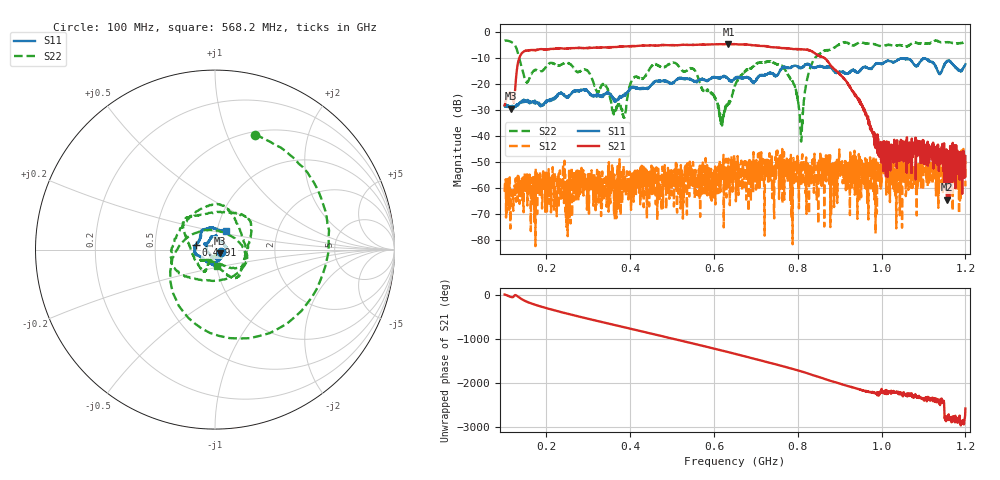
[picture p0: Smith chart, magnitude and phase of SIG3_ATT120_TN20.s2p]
# Hz S DB R 50
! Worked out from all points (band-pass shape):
!   1601 points, 100 MHz to 1.2 GHz, reference 50 ohm
!   highest |S21| = -4.73 dB at 634.2 MHz (marker M1); lowest = -64.5 dB at 1.156 GHz (marker M2)
!   |S21| within 3 dB of the highest: 144.7 MHz to 834.8 MHz (690.1 MHz wide, 141 % of centre); 835.3229 MHz to 835.75 MHz (427.1 kHz wide, 0.0511 % of centre)
!   lowest |S11| = -29.5 dB at 115.1 MHz (marker M3), VSWR 1.07, Z = 52.8 - j2.04 ohm
!   |S11| at or under -10 dB: start of sweep to end of sweep
!   |S22| runs from -42.2 to -3.4 dB; largest |S21 - S12| = 0.58
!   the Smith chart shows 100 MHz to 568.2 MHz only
!   S11 on the Smith chart (normalised r, x): 100 MHz: 1.07, -0.03; 489.1 MHz: 0.81, +0.04; 568.2 MHz: 1.11, +0.24
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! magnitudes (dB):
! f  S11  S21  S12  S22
! 100 MHz  -28.3  -28.3  -61.5  -3.4
! 115.1 MHz  -29.5  -23.6  -63.0  -3.9
! 145.4 MHz  -27.1  -7.7  -69.4  -16.4
! 231.3 MHz  -23.7  -6.4  -55.8  -13.1
! 251.9 MHz  -24.7  -6.5  -65.2  -12.1
! 283.6 MHz  -22.5  -6.3  -52.3  -14.9
! 384.6 MHz  -24.6  -5.7  -61.3  -33.1
! 405.9 MHz  -21.6  -5.5  -54.9  -17.9
! 467.1 MHz  -19.2  -5.3  -52.7  -13.0
! 489.1 MHz  -19.3  -5.2  -61.8  -12.8
! 568.2 MHz  -18.2  -5.0  -60.6  -20.6
! 617.7 MHz  -17.4  -4.8  -51.2  -36.2
! 634.2 MHz  -18.2  -4.7  -48.7  -27.6
! 650 MHz  -18.0  -4.8  -52.5  -20.6
! 759.3 MHz  -14.7  -6.3  -49.8  -13.0
! 792.3 MHz  -13.1  -6.7  -49.3  -20.6
! 808.1 MHz  -14.0  -6.7  -59.0  -42.2
! 833.6 MHz  -13.7  -7.6  -56.7  -12.3
! 915.4 MHz  -16.1  -19.0  -50.8  -4.2
! 1.017 GHz  -11.3  -42.3  -61.9  -5.0
! 1.156 GHz  -11.5  -64.5  -50.7  -4.0
! 1.2 GHz  -12.5  -47.9  -59.4  -4.0
